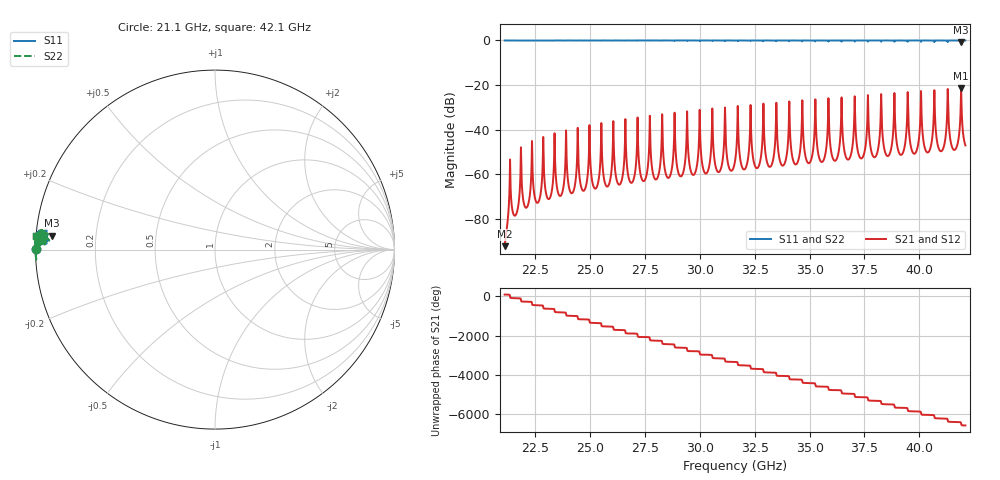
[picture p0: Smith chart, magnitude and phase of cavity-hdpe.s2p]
!Created with skrf (http://scikit-rf.org).
# GHz S RI R 8001.47300089272
!freq ReS11 ImS11 ReS21 ImS21 ReS12 ImS12 ReS22 ImS22
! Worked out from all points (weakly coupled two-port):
!   8401 points, 21.1 GHz to 42.1 GHz, reference 8001.47 ohm
!   highest |S21| = -21.31 dB at 41.91 GHz (marker M1); lowest = -92.4 dB at 21.1 GHz (marker M2)
!   lowest |S11| = -0.8 dB at 41.91 GHz (marker M3), VSWR 22.19, Z = 361 + j341 ohm
!   |S11| at or under -10 dB: nowhere
!   |S22| runs from -0.8 to 0.0 dB; largest |S21 - S12| = 2.2e-17
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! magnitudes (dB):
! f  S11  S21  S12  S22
! 21.1 GHz  0.0  -92.4  -92.4  0.0
! 22.35 GHz  0.0  -45.2  -45.2  0.0
! 24.6 GHz  0.0  -66.2  -66.2  0.0
! 28.1 GHz  0.0  -60.9  -60.9  0.0
! 31.6 GHz  0.0  -54.3  -54.3  0.0
! 35.1 GHz  0.0  -52.5  -52.5  0.0
! 36.46 GHz  -0.5  -25.6  -25.6  -0.5
! 36.78 GHz  0.0  -53.5  -53.5  0.0
! 37.06 GHz  -0.5  -25.1  -25.1  -0.5
! 37.37 GHz  0.0  -53.0  -53.0  0.0
! 37.66 GHz  -0.5  -25.0  -25.0  -0.5
! 37.97 GHz  0.0  -52.4  -52.4  0.0
! 38.26 GHz  -0.5  -24.3  -24.3  -0.5
! 38.6 GHz  0.0  -51.7  -51.7  0.0
! 40.08 GHz  -0.7  -22.7  -22.7  -0.7
! 40.41 GHz  0.0  -50.2  -50.2  0.0
! 40.69 GHz  -0.7  -22.3  -22.3  -0.7
! 41.01 GHz  0.0  -49.7  -49.7  0.0
! 41.3 GHz  -0.7  -21.8  -21.8  -0.7
! 41.62 GHz  0.0  -49.1  -49.1  0.0
! 41.91 GHz  -0.8  -21.3  -21.3  -0.8
! 42.1 GHz  0.0  -47.1  -47.1  0.0
